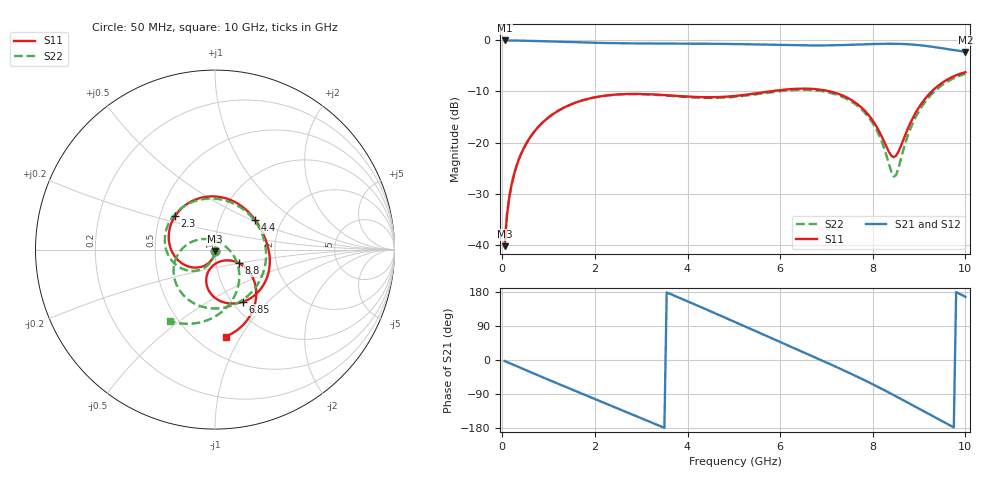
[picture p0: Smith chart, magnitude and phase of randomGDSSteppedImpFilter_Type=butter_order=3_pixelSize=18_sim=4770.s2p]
! freq	dB(S11)	phase(S11)	dB(S12)	phase(S12)
!  dB(S21)	phase(S21)	dB(S22)	phase(S22)
!S-par simulation data
#  GHz  S  DB  R 50
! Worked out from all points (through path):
!   200 points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, 50 MHz to 10 GHz, reference 50 ohm
!   highest |S21| = -0.01 dB at 50 MHz (marker M1); lowest = -2.2 dB at 10 GHz (marker M2)
!   group delay of S21, straight-line fit = 151 ps
!   lowest |S11| = -40.3 dB at 50 MHz (marker M3), VSWR 1.02, Z = 49.9 - j0.965 ohm
!   |S11| at or under -10 dB: start of sweep to 5.769 GHz; 7.079 GHz to 9.273 GHz (2.194 GHz wide, 26.8 % of centre)
!   |S22| runs from -40.3 to -6.6 dB; largest |S21 - S12| = 0
!   S11 on the Smith chart (normalised r, x): 50 MHz: 1.00, -0.02; 2.3 GHz: 0.60, +0.25; 4.4 GHz: 1.46, +0.53; 6.85 GHz: 1.12, -0.73; 8.8 GHz: 1.29, -0.20; 10 GHz: 0.68, -0.87
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0.05  -40.29 -92.6  -0.01 -2.7  -0.01 -2.7  -40.28 -92.1
0.1  -34.28 -95.7  -0.02 -5.3  -0.02 -5.3  -34.27 -94.7
0.2  -28.28 -101.7  -0.03 -10.6  -0.03 -10.6  -28.27 -99.6
0.5  -20.49 -119.2  -0.07 -26.3  -0.07 -26.3  -20.49 -114.1
1.15  -14.11 -156.5  -0.25 -59.9  -0.25 -59.9  -14.10 -144.7
1.75  -11.70 170.0  -0.41 -90.3  -0.41 -90.3  -11.70 -172.1
2.3  -10.74 139.8  -0.53 -118.0  -0.53 -118.0  -10.75 162.8
2.9  -10.48 107.5  -0.59 -148.3  -0.59 -148.3  -10.52 134.5
3.4  -10.65 81.9  -0.62 -173.9  -0.62 -173.9  -10.71 109.1
3.9  -10.94 58.1  -0.63 160.1  -0.63 160.1  -11.04 81.1
4.4  -11.13 36.8  -0.65 133.7  -0.65 133.7  -11.26 49.9
5.05  -10.86 12.1  -0.72 98.9  -0.72 98.9  -11.03 5.6
5.8  -9.96 -16.6  -0.86 58.4  -0.86 58.4  -10.16 -45.7
6.7  -9.50 -54.9  -0.99 9.7  -0.99 9.7  -9.74 -102.8
6.85  -9.63 -61.6  -0.99 1.6  -0.99 1.6  -9.87 -112.0
7.35  -10.80 -84.0  -0.91 -26.1  -0.91 -26.1  -11.08 -143.5
7.8  -13.52 -102.0  -0.78 -52.1  -0.78 -52.1  -13.90 -174.8
8.35  -21.86 -90.5  -0.66 -86.0  -0.66 -86.0  -24.25 114.1
8.5  -22.61 -58.8  -0.67 -95.7  -0.67 -95.7  -26.43 48.2
8.8  -16.42 -29.5  -0.78 -115.5  -0.78 -115.5  -17.59 -27.2
9.4  -8.97 -50.1  -1.40 -155.2  -1.40 -155.2  -9.44 -80.7
10  -6.23 -83.0  -2.24 166.7  -2.24 166.7  -6.55 -122.1
